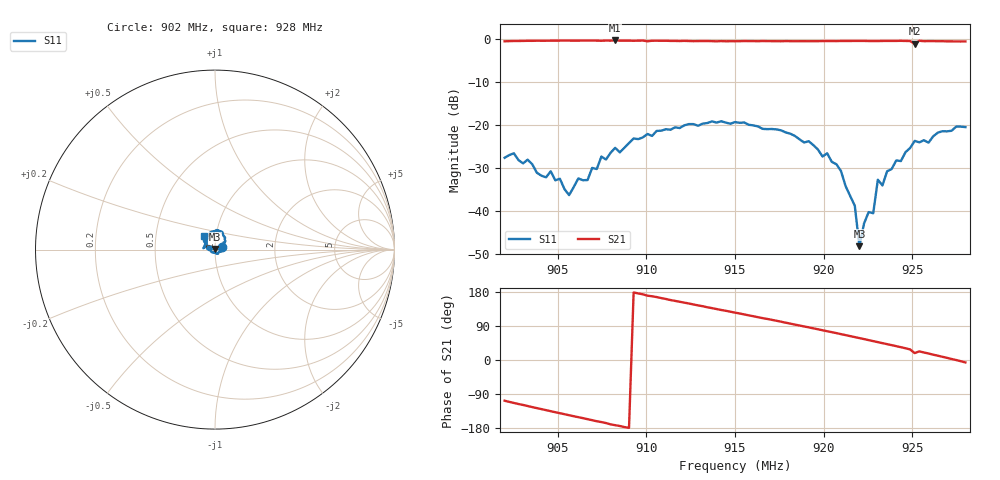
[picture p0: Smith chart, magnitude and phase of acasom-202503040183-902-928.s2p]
# HZ S RI R 50
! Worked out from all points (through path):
!   101 points, 902 MHz to 928 MHz, reference 50 ohm
!   highest |S21| = -0.45 dB at 908.24 MHz (marker M1); lowest = -1.2 dB at 925.14 MHz (marker M2)
!   group delay of S21, straight-line fit = 27 ns
!   lowest |S11| = -48.1 dB at 922.02 MHz (marker M3), VSWR 1.01, Z = 50.2 + j0.35 ohm
!   |S11| at or under -10 dB: start of sweep to end of sweep
!   S12 and S22 are empty: the file has one direction only
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9.02e8  0.0393 0.0132  -0.278 -0.8855  0 0  0 0
9.033e8  0.0385 -0.00828  -0.4901 -0.8019  0 0  0 0
9.0434e8  0.0201 -0.0141  -0.6338 -0.697  0 0  0 0
9.046e8  0.0171 -0.0233  -0.6679 -0.6663  0 0  0 0
9.0564e8  -0.00366 -0.0149  -0.7814 -0.533  0 0  0 0
9.0642e8  -0.0212 -0.00819  -0.8475 -0.4228  0 0  0 0
9.0824e8  -0.0483 0.0241  -0.94 -0.1318  0 0  0 0
9.1084e8  -0.0375 0.0767  -0.9017 0.2695  0 0  0 0
9.15e8  0.0305 0.103  -0.5328 0.762  0 0  0 0
9.1942e8  0.0478 0.0331  0.1043 0.9256  0 0  0 0
9.2098e8  0.0275 0.00947  0.3469 0.8696  0 0  0 0
9.2176e8  0.0109 0.00364  0.462 0.8155  0 0  0 0
9.2202e8  0.00177 0.00349  0.499 0.7925  0 0  0 0
9.2254e8  -0.00866 0.00442  0.5692 0.7409  0 0  0 0
9.228e8  -0.00654 0.0068  0.6029 0.7134  0 0  0 0
9.2306e8  -0.0215 0.00837  0.6353 0.6847  0 0  0 0
9.2332e8  -0.0184 0.00719  0.6682 0.6559  0 0  0 0
9.2384e8  -0.0275 0.0138  0.7256 0.5925  0 0  0 0
9.2488e8  -0.0481 0.0239  0.8257 0.4373  0 0  0 0
9.2514e8  -0.0647 0.0074  0.8247 0.2713  0 0  0 0
9.254e8  -0.052 0.0347  0.8677 0.3651  0 0  0 0
9.28e8  -0.0587 0.0734  0.9185 -0.1034  0 0  0 0
